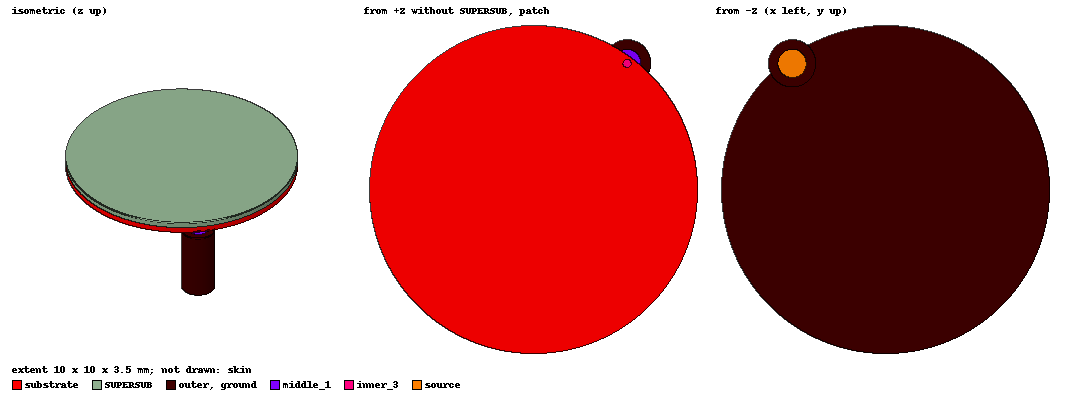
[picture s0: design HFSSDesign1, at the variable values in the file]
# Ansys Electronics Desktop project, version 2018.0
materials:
  vacuum: permittivity=1
  FR4_epoxy: permittivity=4.4 dielectric_loss_tangent=0.02
  copper: permeability=0.999991 conductivity=58000000
  Teflon (tm): permittivity=2.1 dielectric_loss_tangent=0.001
  skin: permittivity=38 conductivity=1.464

design HFSSDesign1 (HFSS, DrivenModal, model units mm)
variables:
  h = 0.25mm
  a = 7.85mm
  b = 8.85mm
  radius = 5mm
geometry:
  ground = circle(normal=Z, centre=(radius, radius, 0mm), radius=radius)
  substrate [FR4_epoxy] = cylinder(axis=Z, base_centre=(radius, radius, 0mm), radius=radius, height=h)
  patch = circle(normal=Z, centre=(radius, radius, 0.25mm), radius=radius)
  inner = cylinder(axis=Z, base_centre=(a, b, 0mm), radius=0.125mm, height=h)
  substrate.subtract(inner)
  gndcut = circle(normal=Z, centre=(a, b, 0mm), radius=0.431mm)
  outer [copper] = cylinder(axis=Z, base_centre=(a, b, 0mm), radius=0.72mm, height=-3mm)
  ground.subtract(gndcut)
  inner_1 = cylinder(axis=Z, base_centre=(a, b, 0.25mm), radius=0.125mm, height=-3.25mm)
  middle = cylinder(axis=Z, base_centre=(a, b, 0mm), radius=0.4225mm, height=-3mm)
  outer.subtract(inner_1, middle)
  middle_1 [Teflon (tm)] = cylinder(axis=Z, base_centre=(a, b, 0mm), radius=0.4225mm, height=-3mm)
  inner_2 = cylinder(axis=Z, base_centre=(a, b, 0.25mm), radius=0.125mm, height=-3.25mm)
  middle_1.subtract(inner_2)
  inner_3 [copper] = cylinder(axis=Z, base_centre=(a, b, 0.25mm), radius=0.125mm, height=-3.25mm)
  source = circle(normal=Z, centre=(a, b, -3mm), radius=0.431mm)
  skin [skin] = box(corner=(-50mm, -50mm, -95mm), size=(100mm, 100mm, 100mm))
  SUPERSUB [FR4_epoxy] = cylinder(axis=Z, base_centre=(radius, radius, h), radius=radius, height=h)
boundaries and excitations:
  PerfE1: Perfect E Objects=[ground, patch]
  Rad1: Radiation Objects=skin
  1: Lumped Port Objects=source Modes{Mode1{IntLine{centre of source.face -> middle_1.edge(1 of 2) at -0.25 along} CharImp=Zpi RenormImp=50ohm}} Impedance=50ohm
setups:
  Setup1: HfssDriven Frequency=2.4GHz MaxDeltaS=0.02 MaximumPasses=6 MinimumPasses=1 MinimumConvergedPasses=1 PercentRefinement=30 MeshLink{LinkID=4 PathRelativeTo=TargetProject ApplyMeshOp AdaptPort} BasisOrder=1 PortAccuracy=2
    sweep Sweep: 5GHz to 12GHz, 201 points; Type=Fast SaveFields
  Setup2: HfssDriven Frequency=5GHz MaxDeltaS=0.02 MaximumPasses=6 MinimumPasses=1 MinimumConvergedPasses=1 PercentRefinement=30 BasisOrder=1 PortAccuracy=2
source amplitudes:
  1:1: 1W 0deg
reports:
  S Parameter Plot 1: dB(S(1,1)) vs Freq on Setup1 : Sweep
